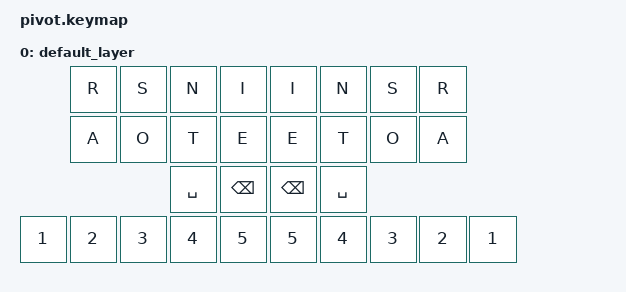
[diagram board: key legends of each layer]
#include <behaviors.dtsi>
#include <dt-bindings/zmk/keys.h>

/ {
    keymap {
        compatible = "zmk,keymap";

        default_layer {
            bindings = <
                       &kp R  &kp S  &kp N   &kp I    &kp I    &kp N  &kp S  &kp R  
                       &kp A  &kp O  &kp T   &kp E    &kp E    &kp T  &kp O  &kp A  
                                     &kp SPC &kp BSPC &kp BSPC &kp SPC
                &kp N1 &kp N2 &kp N3 &kp N4  &kp N5   &kp N5   &kp N4 &kp N3 &kp N2 &kp N1
                /*  LD     LB     LF     LU      LI       RI       RU     RF     RB     RD */
                >;
        };
    };
};
